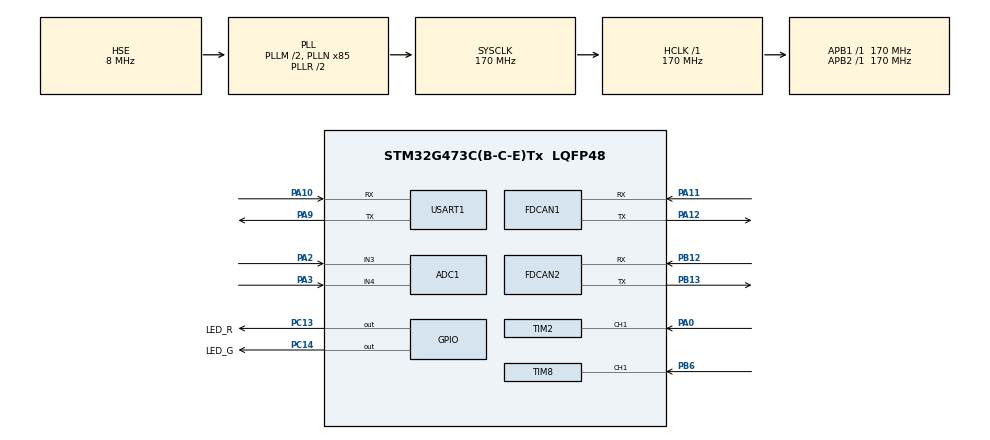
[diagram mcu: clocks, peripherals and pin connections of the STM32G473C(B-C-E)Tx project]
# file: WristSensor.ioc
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ADC1.Channel-2\#ChannelRegularConversion=ADC_CHANNEL_3
ADC1.Channel-3\#ChannelRegularConversion=ADC_CHANNEL_4
ADC1.ClockPrescaler=ADC_CLOCK_SYNC_PCLK_DIV4
ADC1.ContinuousConvMode=DISABLE
ADC1.DMAContinuousRequests=ENABLE
ADC1.ExternalTrigConv=ADC_EXTERNALTRIG_T6_TRGO
ADC1.NbrOfConversion=2
ADC1.NbrOfConversionFlag=1
ADC1.OffsetNumber-2\#ChannelRegularConversion=ADC_OFFSET_NONE
ADC1.OffsetNumber-3\#ChannelRegularConversion=ADC_OFFSET_NONE
ADC1.Rank-2\#ChannelRegularConversion=1
ADC1.Rank-3\#ChannelRegularConversion=2
ADC1.SamplingTime-2\#ChannelRegularConversion=ADC_SAMPLETIME_12CYCLES_5
ADC1.SamplingTime-3\#ChannelRegularConversion=ADC_SAMPLETIME_12CYCLES_5
ADC1.master=1
Dma.ADC1.0.Direction=DMA_PERIPH_TO_MEMORY
Dma.ADC1.0.EventEnable=DISABLE
Dma.ADC1.0.Instance=DMA2_Channel4
Dma.ADC1.0.MemDataAlignment=DMA_MDATAALIGN_HALFWORD
Dma.ADC1.0.MemInc=DMA_MINC_ENABLE
Dma.ADC1.0.Mode=DMA_CIRCULAR
Dma.ADC1.0.PeriphDataAlignment=DMA_PDATAALIGN_HALFWORD
Dma.ADC1.0.PeriphInc=DMA_PINC_DISABLE
Dma.ADC1.0.Polarity=HAL_DMAMUX_REQ_GEN_RISING
Dma.ADC1.0.Priority=DMA_PRIORITY_LOW
Dma.ADC1.0.RequestNumber=1
Dma.ADC1.0.SignalID=NONE
Dma.ADC1.0.SyncEnable=DISABLE
Dma.ADC1.0.SyncPolarity=HAL_DMAMUX_SYNC_NO_EVENT
Dma.ADC1.0.SyncRequestNumber=1
Dma.ADC1.0.SyncSignalID=NONE
Dma.Request0=ADC1
Dma.Request1=USART1_RX
Dma.Request2=TIM2_CH1
Dma.Request3=TIM2_CH2
Dma.Request4=TIM8_CH1
Dma.Request5=TIM8_CH2
Dma.TIM2_CH1.2.Direction=DMA_PERIPH_TO_MEMORY
Dma.TIM2_CH1.2.EventEnable=DISABLE
Dma.TIM2_CH1.2.Instance=DMA1_Channel3
Dma.TIM2_CH1.2.MemDataAlignment=DMA_MDATAALIGN_HALFWORD
Dma.TIM2_CH1.2.MemInc=DMA_MINC_ENABLE
Dma.TIM2_CH1.2.Mode=DMA_CIRCULAR
Dma.TIM2_CH1.2.PeriphDataAlignment=DMA_PDATAALIGN_HALFWORD
Dma.TIM2_CH1.2.PeriphInc=DMA_PINC_DISABLE
Dma.TIM2_CH1.2.Polarity=HAL_DMAMUX_REQ_GEN_RISING
Dma.TIM2_CH1.2.Priority=DMA_PRIORITY_LOW
Dma.TIM2_CH1.2.RequestNumber=1
Dma.TIM2_CH1.2.SignalID=NONE
Dma.TIM2_CH1.2.SyncEnable=DISABLE
Dma.TIM2_CH1.2.SyncPolarity=HAL_DMAMUX_SYNC_NO_EVENT
Dma.TIM2_CH1.2.SyncRequestNumber=1
Dma.TIM2_CH1.2.SyncSignalID=NONE
Dma.TIM2_CH2.3.Direction=DMA_PERIPH_TO_MEMORY
Dma.TIM2_CH2.3.EventEnable=DISABLE
Dma.TIM2_CH2.3.Instance=DMA1_Channel4
Dma.TIM2_CH2.3.MemDataAlignment=DMA_MDATAALIGN_HALFWORD
Dma.TIM2_CH2.3.MemInc=DMA_MINC_ENABLE
Dma.TIM2_CH2.3.Mode=DMA_CIRCULAR
Dma.TIM2_CH2.3.PeriphDataAlignment=DMA_PDATAALIGN_HALFWORD
Dma.TIM2_CH2.3.PeriphInc=DMA_PINC_DISABLE
Dma.TIM2_CH2.3.Polarity=HAL_DMAMUX_REQ_GEN_RISING
Dma.TIM2_CH2.3.Priority=DMA_PRIORITY_LOW
Dma.TIM2_CH2.3.RequestNumber=1
Dma.TIM2_CH2.3.SignalID=NONE
Dma.TIM2_CH2.3.SyncEnable=DISABLE
Dma.TIM2_CH2.3.SyncPolarity=HAL_DMAMUX_SYNC_NO_EVENT
Dma.TIM2_CH2.3.SyncRequestNumber=1
Dma.TIM2_CH2.3.SyncSignalID=NONE
Dma.TIM8_CH1.4.Direction=DMA_PERIPH_TO_MEMORY
Dma.TIM8_CH1.4.EventEnable=DISABLE
Dma.TIM8_CH1.4.Instance=DMA1_Channel1
Dma.TIM8_CH1.4.MemDataAlignment=DMA_MDATAALIGN_HALFWORD
Dma.TIM8_CH1.4.MemInc=DMA_MINC_ENABLE
Dma.TIM8_CH1.4.Mode=DMA_CIRCULAR
Dma.TIM8_CH1.4.PeriphDataAlignment=DMA_PDATAALIGN_HALFWORD
Dma.TIM8_CH1.4.PeriphInc=DMA_PINC_DISABLE
Dma.TIM8_CH1.4.Polarity=HAL_DMAMUX_REQ_GEN_RISING
Dma.TIM8_CH1.4.Priority=DMA_PRIORITY_LOW
Dma.TIM8_CH1.4.RequestNumber=1
Dma.TIM8_CH1.4.SignalID=NONE
Dma.TIM8_CH1.4.SyncEnable=DISABLE
Dma.TIM8_CH1.4.SyncPolarity=HAL_DMAMUX_SYNC_NO_EVENT
Dma.TIM8_CH1.4.SyncRequestNumber=1
Dma.TIM8_CH1.4.SyncSignalID=NONE
Dma.TIM8_CH2.5.Direction=DMA_PERIPH_TO_MEMORY
Dma.TIM8_CH2.5.EventEnable=DISABLE
Dma.TIM8_CH2.5.Instance=DMA1_Channel5
Dma.TIM8_CH2.5.MemDataAlignment=DMA_MDATAALIGN_HALFWORD
Dma.TIM8_CH2.5.MemInc=DMA_MINC_ENABLE
Dma.TIM8_CH2.5.Mode=DMA_CIRCULAR
Dma.TIM8_CH2.5.PeriphDataAlignment=DMA_PDATAALIGN_HALFWORD
Dma.TIM8_CH2.5.PeriphInc=DMA_PINC_DISABLE
Dma.TIM8_CH2.5.Polarity=HAL_DMAMUX_REQ_GEN_RISING
Dma.TIM8_CH2.5.Priority=DMA_PRIORITY_LOW
Dma.TIM8_CH2.5.RequestNumber=1
Dma.TIM8_CH2.5.SignalID=NONE
Dma.TIM8_CH2.5.SyncEnable=DISABLE
Dma.TIM8_CH2.5.SyncPolarity=HAL_DMAMUX_SYNC_NO_EVENT
Dma.TIM8_CH2.5.SyncRequestNumber=1
Dma.TIM8_CH2.5.SyncSignalID=NONE
Dma.USART1_RX.1.Direction=DMA_PERIPH_TO_MEMORY
Dma.USART1_RX.1.EventEnable=DISABLE
Dma.USART1_RX.1.Instance=DMA1_Channel2
Dma.USART1_RX.1.MemDataAlignment=DMA_MDATAALIGN_BYTE
Dma.USART1_RX.1.MemInc=DMA_MINC_ENABLE
Dma.USART1_RX.1.Mode=DMA_CIRCULAR
Dma.USART1_RX.1.PeriphDataAlignment=DMA_PDATAALIGN_BYTE
Dma.USART1_RX.1.PeriphInc=DMA_PINC_DISABLE
Dma.USART1_RX.1.Polarity=HAL_DMAMUX_REQ_GEN_RISING
Dma.USART1_RX.1.Priority=DMA_PRIORITY_LOW
Dma.USART1_RX.1.RequestNumber=1
Dma.USART1_RX.1.SignalID=NONE
Dma.USART1_RX.1.SyncEnable=DISABLE
Dma.USART1_RX.1.SyncPolarity=HAL_DMAMUX_SYNC_NO_EVENT
Dma.USART1_RX.1.SyncRequestNumber=1
Dma.USART1_RX.1.SyncSignalID=NONE
FDCAN1.ClockDivider=FDCAN_CLOCK_DIV2
FDCAN1.DataTimeSeg1=32
FDCAN1.NominalTimeSeg1=32
FDCAN1.NominalTimeSeg2=52
FDCAN2.DataTimeSeg1=32
FDCAN2.NominalTimeSeg1=32
FDCAN2.NominalTimeSeg2=52
IWDG.Prescaler=IWDG_PRESCALER_4
Mcu.Family=STM32G4
Mcu.Name=STM32G473C(B-C-E)Tx
Mcu.Package=LQFP48
NVIC.DMA1_Channel1_IRQn=true\:0\:0\:false\:false\:true\:false\:true
NVIC.DMA1_Channel2_IRQn=true\:0\:0\:false\:false\:true\:false\:true
NVIC.DMA1_Channel3_IRQn=true\:0\:0\:false\:false\:true\:false\:true
NVIC.DMA1_Channel4_IRQn=true\:0\:0\:false\:false\:true\:false\:true
NVIC.DMA1_Channel5_IRQn=true\:0\:0\:false\:false\:true\:false\:true
NVIC.DMA2_Channel4_IRQn=true\:0\:0\:false\:false\:true\:false\:true
NVIC.FDCAN1_IT0_IRQn=true\:0\:0\:false\:false\:true\:true\:true
NVIC.FDCAN2_IT0_IRQn=true\:0\:0\:false\:false\:true\:true\:true
NVIC.PriorityGroup=NVIC_PRIORITYGROUP_4
NVIC.TIM7_DAC_IRQn=true\:0\:0\:false\:false\:true\:true\:true
PA0.Signal=S_TIM2_CH1
PA10.Mode=Asynchronous
PA10.Signal=USART1_RX
PA11.Mode=FDCANMaster
PA11.Signal=FDCAN1_RX
PA12.Mode=FDCANMaster
PA12.Signal=FDCAN1_TX
PA13.Mode=JTAG_5_pins
PA13.Signal=SYS_JTMS-SWDIO
PA14.Mode=JTAG_5_pins
PA14.Signal=SYS_JTCK-SWCLK
PA15.Mode=JTAG_5_pins
PA15.Signal=SYS_JTDI
PA2.Mode=IN3-Single-Ended
PA2.Signal=ADC1_IN3
PA3.Mode=IN4-Single-Ended
PA3.Signal=ADC1_IN4
PA9.Mode=Asynchronous
PA9.Signal=USART1_TX
PB12.Mode=FDCANSlave
PB12.Signal=FDCAN2_RX
PB13.Mode=FDCANSlave
PB13.Signal=FDCAN2_TX
PB3.Mode=JTAG_5_pins
PB3.Signal=SYS_JTDO-SWO
PB4.Mode=JTAG_5_pins
PB4.Signal=SYS_JTRST
PB6.Signal=S_TIM8_CH1
PC13.GPIO_Label=LED_R
PC13.Signal=GPIO_Output
PC14-OSC32_IN.GPIO_Label=LED_G
PC14-OSC32_IN.Signal=GPIO_Output
PF0-OSC_IN.Mode=HSE-External-Oscillator
PF0-OSC_IN.Signal=RCC_OSC_IN
PF1-OSC_OUT.Mode=HSE-External-Oscillator
PF1-OSC_OUT.Signal=RCC_OSC_OUT
ProjectManager.HeapSize=0x200
ProjectManager.StackSize=0x400
ProjectManager.TargetToolchain=EWARM V8.32
RCC.ADC12CLockSelection=RCC_ADC12CLKSOURCE_PLL
RCC.ADC12Freq_Value=170000000
RCC.ADC345Freq_Value=170000000
RCC.AHBFreq_Value=170000000
RCC.APB1Freq_Value=170000000
RCC.APB1TimFreq_Value=170000000
RCC.APB2Freq_Value=170000000
RCC.APB2TimFreq_Value=170000000
RCC.CortexFreq_Value=170000000
RCC.EXTERNAL_CLOCK_VALUE=12288000
RCC.FDCANCLockSelection=RCC_FDCANCLKSOURCE_PLL
RCC.HCLKFreq_Value=170000000
RCC.HSE_VALUE=8000000
RCC.HSI48_VALUE=48000000
RCC.HSI_VALUE=16000000
RCC.LSE_VALUE=32768
RCC.PLLM=RCC_PLLM_DIV2
RCC.PLLN=85
RCC.PLLSourceVirtual=RCC_PLLSOURCE_HSE
RCC.SYSCLKFreq_VALUE=170000000
RCC.SYSCLKSource=RCC_SYSCLKSOURCE_PLLCLK
RCC.USBFreq_Value=170000000
RCC.VCOOutputFreq_Value=340000000
SH.S_TIM2_CH1.0=TIM2_CH1,Input_Capture1_from_TI1
SH.S_TIM2_CH1.1=TIM2_CH1,TriggerSource_TI1FP1
SH.S_TIM2_CH1.2=TIM2_CH1,Input_Capture2_from_TI1
SH.S_TIM8_CH1.0=TIM8_CH1,Input_Capture1_from_TI1
SH.S_TIM8_CH1.1=TIM8_CH1,TriggerSource_TI1FP1
SH.S_TIM8_CH1.2=TIM8_CH1,Input_Capture2_from_TI1
TIM2.AutoReloadPreload=TIM_AUTORELOAD_PRELOAD_ENABLE
TIM2.Channel-Input_Capture1_from_TI1=TIM_CHANNEL_1
TIM2.Channel-Input_Capture2_from_TI1=TIM_CHANNEL_2
TIM2.ICFilter_CH1=15
TIM2.ICPolarity_CH2=TIM_INPUTCHANNELPOLARITY_FALLING
TIM2.PeriodNoDither=65535
TIM2.Prescaler=170-1
TIM6.AutoReloadPreload=TIM_AUTORELOAD_PRELOAD_DISABLE
TIM6.PeriodNoDither=10000
TIM6.Prescaler=170-1
TIM6.TIM_MasterOutputTrigger=TIM_TRGO_UPDATE
TIM7.AutoReloadPreload=TIM_AUTORELOAD_PRELOAD_DISABLE
TIM7.PeriodNoDither=1000-1
TIM7.Prescaler=170-1
TIM8.AutoReloadPreload=TIM_AUTORELOAD_PRELOAD_ENABLE
TIM8.Channel-Input_Capture1_from_TI1=TIM_CHANNEL_1
TIM8.Channel-Input_Capture2_from_TI1=TIM_CHANNEL_2
TIM8.ICFilter_CH1=15
TIM8.ICPolarity_CH2=TIM_INPUTCHANNELPOLARITY_FALLING
TIM8.PeriodNoDither=65535
TIM8.Prescaler=170-1
USART1.VirtualMode-Asynchronous=VM_ASYNC
VP_IWDG_VS_IWDG.Mode=IWDG_Activate
VP_SYS_VS_DBSignals.Mode=DisableDeadBatterySignals
VP_TIM2_VS_ClockSourceINT.Mode=Internal
VP_TIM2_VS_ControllerModeReset.Mode=Reset Mode
VP_TIM6_VS_ClockSourceINT.Mode=Enable_Timer
VP_TIM7_VS_ClockSourceINT.Mode=Enable_Timer
VP_TIM8_VS_ClockSourceINT.Mode=Internal
VP_TIM8_VS_ControllerModeReset.Mode=Reset Mode
board=custom

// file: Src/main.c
/* USER CODE BEGIN Header */
/**
  ******************************************************************************
  * @file           : main.c
  * @brief          : Main program body
  ******************************************************************************
  * @attention
  *
  * <h2><center>&copy; Copyright (c) 2021 STMicroelectronics.
  * All rights reserved.</center></h2>
  *
  * This software component is licensed by ST under BSD 3-Clause license,
  * the "License"; You may not use this file except in compliance with the
  * License. You may obtain a copy of the License at:
  *                        opensource.org/licenses/BSD-3-Clause
  *
  ******************************************************************************
  */
/* USER CODE END Header */

#include "main.h"

/* USER CODE BEGIN Includes */
#include "stdlib.h"
#include "hx_WristSensor.h"
#include "hx_CANOpen.h"
#include "hx_CANDrv.h"

/* USER CODE END Includes */

/* USER CODE BEGIN PD */
#define DMA_RX_BUFFER_SIZE         				1
#define UART_BUFFER_SIZE        				24
#define ADC1_CHANNEL_NUM						2
/* USER CODE END PD */

ADC_HandleTypeDef hadc1;
DMA_HandleTypeDef hdma_adc1;

FDCAN_HandleTypeDef hfdcan1;
FDCAN_HandleTypeDef hfdcan2;

IWDG_HandleTypeDef hiwdg;

TIM_HandleTypeDef htim2;
TIM_HandleTypeDef htim6;
TIM_HandleTypeDef htim7;
TIM_HandleTypeDef htim8;
DMA_HandleTypeDef hdma_tim2_ch1;
DMA_HandleTypeDef hdma_tim2_ch2;
DMA_HandleTypeDef hdma_tim8_ch1;
DMA_HandleTypeDef hdma_tim8_ch2;

UART_HandleTypeDef huart1;
DMA_HandleTypeDef hdma_usart1_rx;

/* USER CODE BEGIN PV */
//FDCAN_RxHeaderTypeDef RxHeader[2];
//uint8_t RxData[2][16];
//FDCAN_TxHeaderTypeDef TxHeader[2];
//uint8_t TxData[2][16];
//uint8_t TxData2[] = {0x10, 0x32, 0x54, 0x76, 0x98, 0x00, 0x11, 0x22, 0x33, 0x44, 0x55, 0x66, 0x77, 0x88, 0x99, 0x00};
//FDCAN_FilterTypeDef sFilterConfig;
//int fifo0TxNum;
uint16_t adc1Result[ADC1_CHANNEL_NUM];
uint8_t DMA_RX_Buffer[1];
uint16_t capture21[2];	//tim2_1ch
uint16_t capture22[2];	//tim2_2ch
uint16_t capture81[2];
uint16_t capture82[2];
//uint32_t period, active, freq, duty;
//uint8_t ch1done = 0;
//uint8_t ch2done = 0;
//uint8_t ch3done = 0;
//uint8_t ch4done = 0;

/* USER CODE END PV */

void SystemClock_Config(void);
static void MX_GPIO_Init(void);
static void MX_DMA_Init(void);
static void MX_ADC1_Init(void);
static void MX_FDCAN1_Init(void);
static void MX_FDCAN2_Init(void);
static void MX_IWDG_Init(void);
static void MX_TIM2_Init(void);
static void MX_TIM6_Init(void);
static void MX_TIM7_Init(void);
static void MX_TIM8_Init(void);
static void MX_USART1_UART_Init(void);
/* USER CODE BEGIN PFP */
void (*reset)(void) = 0;

/* USER CODE END PFP */

/* USER CODE BEGIN 0 */
#if 0
int fputc(int ch, FILE *f)
{
	uint8_t temp[1] = {ch};

	HAL_UART_Transmit(&huart1, temp, 1, 20);
	return ch;
}
#endif

void HAL_TIM_PeriodElapsedCallback(TIM_HandleTypeDef * htim)
{
	if (htim->Instance == TIM7) {
		WristTimer.tick++;
		WristTimer.tick2++;
		//WristTimer.temp++;
		//if (WristTimer.sendDataTick > 0) WristTimer.sendDataTick--;
	}
}

void HAL_UART_RxCpltCallback(UART_HandleTypeDef * huart)
{
	Wrist.m_led.adcCnt++;
}

void HAL_ADC_ConvCpltCallback(ADC_HandleTypeDef* hadc)
{
	//uint32_t i;

	if (hadc->Instance == ADC1 || hadc->Instance == ADC2) {
	}
	//HAL_ADC_Stop_DMA(&hadc1);
	Wrist.m_led.adcCnt++;
	//fnADCDrv_Copy2Buf();
	//Wrist.adc.complete = 1;
	//ADCDrv_SelectSensorSource();
	//if (Wrist.runMode > RM_CALIBRATION) {
	//	HAL_ADC_Start_DMA(&hadc1,(uint32_t *)&AdcDmaBuf[1], NumOfAdcChan );
		//Wrist.adc.complete = 0;
	//}
	//HAL_GPIO_TogglePin(GPIOB, LED_ORANGE);
}

/**
  * @brief  Transmission  complete callback in non blocking mode
  * @param  CanHandle: pointer to a CAN_HandleTypeDef structure that contains
  *         the configuration information for the specified CAN.
  * @retval None
  */
void HAL_FDCAN_RxFifo0Callback(FDCAN_HandleTypeDef *hfdcan, uint32_t RxFifo0ITs)
{
	//uint32_t len;
	//int i;

	if((RxFifo0ITs & FDCAN_IT_RX_FIFO0_NEW_MESSAGE) != RESET)
	{
		if (hfdcan->Instance == FDCAN1) {
			CCANDrv_ISR(hfdcan);
			/* Activate Rx FIFO 0 watermark notification */
			HAL_FDCAN_ActivateNotification(hfdcan, FDCAN_IT_RX_FIFO0_NEW_MESSAGE, CanBuf[0].fifo0TxNum);
		}
		else if (hfdcan->Instance == FDCAN2) {
			CCANDrv_ISR(hfdcan);
			/* Activate Rx FIFO 0 watermark notification */
			HAL_FDCAN_ActivateNotification(hfdcan, FDCAN_IT_RX_FIFO0_NEW_MESSAGE, CanBuf[1].fifo0TxNum);
		}
	}
}

void HAL_CAN_TxCpltCallback(FDCAN_HandleTypeDef* hfdcan)
{
	if (hfdcan->Instance == FDCAN1) {
		if (hfdcan->State == HAL_FDCAN_STATE_READY) Wrist.m_can[1].complete = 1;
	}
}

void HAL_TIM_IC_CaptureCallback(TIM_HandleTypeDef *htim)
{
#if 0
	if(htim->Instance == TIM2 && htim->Channel == HAL_TIM_ACTIVE_CHANNEL_1)
	{
		ch1done = 1;
	}

	if(htim->Instance == TIM2 && htim->Channel == HAL_TIM_ACTIVE_CHANNEL_2)
	{
		ch2done = 1;
	}

	if(htim->Instance == TIM8 && htim->Channel == HAL_TIM_ACTIVE_CHANNEL_1)
	{
		ch3done = 1;
	}

	if(htim->Instance == TIM8 && htim->Channel == HAL_TIM_ACTIVE_CHANNEL_2)
	{
		ch4done = 1;
	}
#endif
}

void HW_DeviceDrv_Init(void)
{
	 //osStatus status;											   // function return status

	//GPIO_InitTypeDef GPIO_InitStruct = {0};

	//GPIO_InitStruct.Pin = GPIO_PIN_13|GPIO_PIN_14; //LED Red/Green
	//GPIO_InitStruct.Mode = GPIO_MODE_OUTPUT_PP;
	//GPIO_InitStruct.Pull = GPIO_NOPULL;
	//GPIO_InitStruct.Speed = GPIO_SPEED_FREQ_LOW;
	//HAL_GPIO_Init(GPIOC, &GPIO_InitStruct);

	//GPIO_InitStruct.Pin = GPIO_PIN_7; //LED Red
	//HAL_GPIO_Init(GPIOB, &GPIO_InitStruct);

	//HAL_NVIC_SetPriority(EXTI2_IRQn, 8, 0); //emg1
	//HAL_NVIC_EnableIRQ(EXTI2_IRQn);

	HAL_UART_Receive_DMA(&huart1, &DMA_RX_Buffer[0], DMA_RX_BUFFER_SIZE);

	CCANDrv_CANDrv();

	HAL_TIM_Base_Start_IT(&htim7);

	HAL_TIM_IC_Start_DMA(&htim2, TIM_CHANNEL_1, (uint32_t *)capture21, 2);
	htim2.State = HAL_TIM_STATE_READY;
	HAL_TIM_IC_Start_DMA(&htim2, TIM_CHANNEL_2, (uint32_t *)capture22, 2);

	HAL_TIM_IC_Start_DMA(&htim8, TIM_CHANNEL_1, (uint32_t *)capture81, 2);
	htim8.State = HAL_TIM_STATE_READY;
	HAL_TIM_IC_Start_DMA(&htim8, TIM_CHANNEL_2, (uint32_t *)capture82, 2);

	HAL_TIM_Base_Start(&htim6);  // Timer 6 Base generation : for adc1,2,3 trigger

	//ADCDrv_Init();
	HAL_ADC_Start_DMA(&hadc1, (uint32_t *)adc1Result, ADC1_CHANNEL_NUM);
//	HAL_IWDG_Start(&hiwdg);

}

void GetMCU_UID(uint32_t *buf)
{
#define U_ID_BASE			((uint32_t)0x1FF1E800)
	buf[0] = *(__IO uint32_t *)U_ID_BASE;//HAL_GetUIDw0();
	buf[1] = *(__IO uint32_t *)(U_ID_BASE+4);//HAL_GetUIDw1();
	buf[2] = *(__IO uint32_t *)(U_ID_BASE+8);//HAL_GetUIDw2();
}

void CAN_Init(FDCAN_HandleTypeDef *phcan)
{
	if (phcan->Instance == FDCAN1) {
		MX_FDCAN1_Init(); // CAN �ʱ�ȭ�� �մϴ�
	}
	else if (phcan->Instance == FDCAN2) {
		MX_FDCAN2_Init(); // CAN �ʱ�ȭ�� �մϴ�
	}
}

/* USER CODE END 0 */

int main(void)
{

  /* MCU Configuration--------------------------------------------------------*/

  /* Reset of all peripherals, Initializes the Flash interface and the Systick. */
  HAL_Init();

  /* Configure the system clock */
  SystemClock_Config();

  /* Initialize all configured peripherals */
  MX_GPIO_Init();
  MX_DMA_Init();
  MX_ADC1_Init();
  MX_FDCAN1_Init();
  MX_FDCAN2_Init();
//  MX_IWDG_Init();
  MX_TIM2_Init();
  MX_TIM6_Init();
  MX_TIM7_Init();
  MX_TIM8_Init();
  MX_USART1_UART_Init();
  /* USER CODE BEGIN 2 */
  HW_DeviceDrv_Init();
  //  HAL_IWDG_Start(&hiwdg);

  CWrist_Init();
  CWrist_SetEncValuePtr(0, &capture22[0]);
  CWrist_SetEncValuePtr(1, &capture82[0]);
  //CWrist_RunMode_Calibration();
#ifdef SUPPORT_UART_PRINT
	CWrist_Print2Uart_SystemInfo();
#endif
#ifdef SUPPORT_BOARD_TEST_MODE
 	CWrist_SetRunMode(RM_NORMAL);
#endif

  /* USER CODE END 2 */

  /* Infinite loop */
  while (1)
  {

    /* USER CODE BEGIN 3 */
	#if 0
	if(ch1done)
	{
		if(capture1[0] > capture1[1])
		{
			period = htim2.Instance->ARR + capture1[1] - capture1[0];
		}
		else
		{
			period = capture1[1] - capture1[0];
		}

		freq = (HAL_RCC_GetPCLK1Freq() * 2) / (htim2.Instance->PSC + 1);  //84000000
		freq = freq / period;

		ch1done = 0;
	}

	if(ch2done)
	{
		if(capture2[0] >= capture1[0] && capture2[0] <= capture1[1])
		{
			active = capture2[0] - capture1[0];
		}
		else if(capture2[1] >= capture1[0] && capture2[1] <= capture1[1])
		{
			active = capture2[1] - capture1[0];
		}

		duty = active * 100 / period;
		ch2done = 0;
	}
#endif

	fnWrist_RunMode();
	//if (Wrist.runMode > )
	if (WristTimer.tick2 > 500) {
		LED_RED_TOGGLE;
		WristTimer.tick2 = 0;
	}

  }
  /* USER CODE END 3 */
}

void SystemClock_Config(void)
{
  RCC_OscInitTypeDef RCC_OscInitStruct = {0};
  RCC_ClkInitTypeDef RCC_ClkInitStruct = {0};
  RCC_PeriphCLKInitTypeDef PeriphClkInit = {0};

  /** Configure the main internal regulator output voltage
  */
  HAL_PWREx_ControlVoltageScaling(PWR_REGULATOR_VOLTAGE_SCALE1_BOOST);
  /** Initializes the CPU, AHB and APB busses clocks
  */
  RCC_OscInitStruct.OscillatorType = RCC_OSCILLATORTYPE_LSI|RCC_OSCILLATORTYPE_HSE;
  RCC_OscInitStruct.HSEState = RCC_HSE_ON;
  RCC_OscInitStruct.LSIState = RCC_LSI_ON;
  RCC_OscInitStruct.PLL.PLLState = RCC_PLL_ON;
  RCC_OscInitStruct.PLL.PLLSource = RCC_PLLSOURCE_HSE;
  RCC_OscInitStruct.PLL.PLLM = RCC_PLLM_DIV2;
  RCC_OscInitStruct.PLL.PLLN = 85;
  RCC_OscInitStruct.PLL.PLLP = RCC_PLLP_DIV2;
  RCC_OscInitStruct.PLL.PLLQ = RCC_PLLQ_DIV2;
  RCC_OscInitStruct.PLL.PLLR = RCC_PLLR_DIV2;
  if (HAL_RCC_OscConfig(&RCC_OscInitStruct) != HAL_OK)
  {
    Error_Handler();
  }
  /** Initializes the CPU, AHB and APB busses clocks
  */
  RCC_ClkInitStruct.ClockType = RCC_CLOCKTYPE_HCLK|RCC_CLOCKTYPE_SYSCLK
                              |RCC_CLOCKTYPE_PCLK1|RCC_CLOCKTYPE_PCLK2;
  RCC_ClkInitStruct.SYSCLKSource = RCC_SYSCLKSOURCE_PLLCLK;
  RCC_ClkInitStruct.AHBCLKDivider = RCC_SYSCLK_DIV1;
  RCC_ClkInitStruct.APB1CLKDivider = RCC_HCLK_DIV1;
  RCC_ClkInitStruct.APB2CLKDivider = RCC_HCLK_DIV1;

  if (HAL_RCC_ClockConfig(&RCC_ClkInitStruct, FLASH_LATENCY_8) != HAL_OK)
  {
    Error_Handler();
  }
  /** Initializes the peripherals clocks
  */
  PeriphClkInit.PeriphClockSelection = RCC_PERIPHCLK_USART1|RCC_PERIPHCLK_ADC12
                              |RCC_PERIPHCLK_FDCAN;
  PeriphClkInit.Usart1ClockSelection = RCC_USART1CLKSOURCE_PCLK2;
  PeriphClkInit.FdcanClockSelection = RCC_FDCANCLKSOURCE_PLL;
  PeriphClkInit.Adc12ClockSelection = RCC_ADC12CLKSOURCE_PLL;
  if (HAL_RCCEx_PeriphCLKConfig(&PeriphClkInit) != HAL_OK)
  {
    Error_Handler();
  }
}

static void MX_ADC1_Init(void)
{

  ADC_MultiModeTypeDef multimode = {0};
  ADC_ChannelConfTypeDef sConfig = {0};

  /** Common config
  */
  hadc1.Instance = ADC1;
  hadc1.Init.ClockPrescaler = ADC_CLOCK_SYNC_PCLK_DIV4;
  hadc1.Init.Resolution = ADC_RESOLUTION_12B;
  hadc1.Init.DataAlign = ADC_DATAALIGN_RIGHT;
  hadc1.Init.GainCompensation = 0;
  hadc1.Init.ScanConvMode = ADC_SCAN_ENABLE;
  hadc1.Init.EOCSelection = ADC_EOC_SINGLE_CONV;
  hadc1.Init.LowPowerAutoWait = DISABLE;
  hadc1.Init.ContinuousConvMode = DISABLE;
  hadc1.Init.NbrOfConversion = 2;
  hadc1.Init.DiscontinuousConvMode = DISABLE;
  hadc1.Init.ExternalTrigConv = ADC_EXTERNALTRIG_T6_TRGO;
  hadc1.Init.ExternalTrigConvEdge = ADC_EXTERNALTRIGCONVEDGE_RISING;
  hadc1.Init.DMAContinuousRequests = ENABLE;
  hadc1.Init.Overrun = ADC_OVR_DATA_PRESERVED;
  hadc1.Init.OversamplingMode = DISABLE;
  if (HAL_ADC_Init(&hadc1) != HAL_OK)
  {
    Error_Handler();
  }
  /** Configure the ADC multi-mode
  */
  multimode.Mode = ADC_MODE_INDEPENDENT;
  if (HAL_ADCEx_MultiModeConfigChannel(&hadc1, &multimode) != HAL_OK)
  {
    Error_Handler();
  }
  /** Configure Regular Channel
  */
  sConfig.Channel = ADC_CHANNEL_3;
  sConfig.Rank = ADC_REGULAR_RANK_1;
  sConfig.SamplingTime = ADC_SAMPLETIME_12CYCLES_5;
  sConfig.SingleDiff = ADC_SINGLE_ENDED;
  sConfig.OffsetNumber = ADC_OFFSET_NONE;
  sConfig.Offset = 0;
  if (HAL_ADC_ConfigChannel(&hadc1, &sConfig) != HAL_OK)
  {
    Error_Handler();
  }
  /** Configure Regular Channel
  */
  sConfig.Channel = ADC_CHANNEL_4;
  sConfig.Rank = ADC_REGULAR_RANK_2;
  if (HAL_ADC_ConfigChannel(&hadc1, &sConfig) != HAL_OK)
  {
    Error_Handler();
  }

}

static void MX_FDCAN1_Init(void)
{

  hfdcan1.Instance = FDCAN1;
  hfdcan1.Init.ClockDivider = FDCAN_CLOCK_DIV1;//2;
  hfdcan1.Init.FrameFormat = FDCAN_FRAME_CLASSIC;
  hfdcan1.Init.Mode = FDCAN_MODE_NORMAL;
  hfdcan1.Init.AutoRetransmission = DISABLE;
  hfdcan1.Init.TransmitPause = DISABLE;
  hfdcan1.Init.ProtocolException = DISABLE;
  hfdcan1.Init.NominalPrescaler = 1;
  hfdcan1.Init.NominalSyncJumpWidth = 1;
  hfdcan1.Init.NominalTimeSeg1 = 32;
  hfdcan1.Init.NominalTimeSeg2 = 52;
  hfdcan1.Init.DataPrescaler = 1;
  hfdcan1.Init.DataSyncJumpWidth = 1;
  hfdcan1.Init.DataTimeSeg1 = 32;
  hfdcan1.Init.DataTimeSeg2 = 52;
  hfdcan1.Init.StdFiltersNbr = 0;
  hfdcan1.Init.ExtFiltersNbr = 0;
  hfdcan1.Init.TxFifoQueueMode = FDCAN_TX_FIFO_OPERATION;
  if (HAL_FDCAN_Init(&hfdcan1) != HAL_OK)
  {
    Error_Handler();
  }

}

static void MX_FDCAN2_Init(void)
{

  hfdcan2.Instance = FDCAN2;
  hfdcan2.Init.FrameFormat = FDCAN_FRAME_CLASSIC;
  hfdcan2.Init.Mode = FDCAN_MODE_NORMAL;
  hfdcan2.Init.AutoRetransmission = DISABLE;
  hfdcan2.Init.TransmitPause = DISABLE;
  hfdcan2.Init.ProtocolException = DISABLE;
  hfdcan2.Init.NominalPrescaler = 1;
  hfdcan2.Init.NominalSyncJumpWidth = 1;
  hfdcan2.Init.NominalTimeSeg1 = 32;
  hfdcan2.Init.NominalTimeSeg2 = 52;
  hfdcan2.Init.DataPrescaler = 1;
  hfdcan2.Init.DataSyncJumpWidth = 1;
  hfdcan2.Init.DataTimeSeg1 = 32;
  hfdcan2.Init.DataTimeSeg2 = 52;
  hfdcan2.Init.StdFiltersNbr = 0;
  hfdcan2.Init.ExtFiltersNbr = 0;
  hfdcan2.Init.TxFifoQueueMode = FDCAN_TX_FIFO_OPERATION;
  if (HAL_FDCAN_Init(&hfdcan2) != HAL_OK)
  {
    Error_Handler();
  }

}

static void MX_IWDG_Init(void)
{

  hiwdg.Instance = IWDG;
  hiwdg.Init.Prescaler = IWDG_PRESCALER_4;
  hiwdg.Init.Window = 4095;
  hiwdg.Init.Reload = 4095;
  if (HAL_IWDG_Init(&hiwdg) != HAL_OK)
  {
    Error_Handler();
  }

}

static void MX_TIM2_Init(void)
{

  TIM_ClockConfigTypeDef sClockSourceConfig = {0};
  TIM_SlaveConfigTypeDef sSlaveConfig = {0};
  TIM_MasterConfigTypeDef sMasterConfig = {0};
  TIM_IC_InitTypeDef sConfigIC = {0};

  htim2.Instance = TIM2;
  htim2.Init.Prescaler = 170-1;
  htim2.Init.CounterMode = TIM_COUNTERMODE_UP;
  htim2.Init.Period = 65535;
  htim2.Init.ClockDivision = TIM_CLOCKDIVISION_DIV1;
  htim2.Init.AutoReloadPreload = TIM_AUTORELOAD_PRELOAD_ENABLE;
  if (HAL_TIM_Base_Init(&htim2) != HAL_OK)
  {
    Error_Handler();
  }
  sClockSourceConfig.ClockSource = TIM_CLOCKSOURCE_INTERNAL;
  if (HAL_TIM_ConfigClockSource(&htim2, &sClockSourceConfig) != HAL_OK)
  {
    Error_Handler();
  }
  if (HAL_TIM_IC_Init(&htim2) != HAL_OK)
  {
    Error_Handler();
  }
  sSlaveConfig.SlaveMode = TIM_SLAVEMODE_RESET;
  sSlaveConfig.InputTrigger = TIM_TS_TI1FP1;
  sSlaveConfig.TriggerPolarity = TIM_INPUTCHANNELPOLARITY_RISING;
  sSlaveConfig.TriggerFilter = 0;
  if (HAL_TIM_SlaveConfigSynchro(&htim2, &sSlaveConfig) != HAL_OK)
  {
    Error_Handler();
  }
  sMasterConfig.MasterOutputTrigger = TIM_TRGO_RESET;
  sMasterConfig.MasterSlaveMode = TIM_MASTERSLAVEMODE_DISABLE;
  if (HAL_TIMEx_MasterConfigSynchronization(&htim2, &sMasterConfig) != HAL_OK)
  {
    Error_Handler();
  }
  sConfigIC.ICPolarity = TIM_INPUTCHANNELPOLARITY_RISING;
  sConfigIC.ICSelection = TIM_ICSELECTION_DIRECTTI;
  sConfigIC.ICPrescaler = TIM_ICPSC_DIV1;
  sConfigIC.ICFilter = 15;
  if (HAL_TIM_IC_ConfigChannel(&htim2, &sConfigIC, TIM_CHANNEL_1) != HAL_OK)
  {
    Error_Handler();
  }
  sConfigIC.ICPolarity = TIM_INPUTCHANNELPOLARITY_FALLING;
  sConfigIC.ICSelection = TIM_ICSELECTION_INDIRECTTI;
  sConfigIC.ICFilter = 0;
  if (HAL_TIM_IC_ConfigChannel(&htim2, &sConfigIC, TIM_CHANNEL_2) != HAL_OK)
  {
    Error_Handler();
  }

}

static void MX_TIM6_Init(void)
{

  TIM_MasterConfigTypeDef sMasterConfig = {0};

  htim6.Instance = TIM6;
  htim6.Init.Prescaler = 170-1;
  htim6.Init.CounterMode = TIM_COUNTERMODE_UP;
  htim6.Init.Period = 10000;
  htim6.Init.AutoReloadPreload = TIM_AUTORELOAD_PRELOAD_DISABLE;
  if (HAL_TIM_Base_Init(&htim6) != HAL_OK)
  {
    Error_Handler();
  }
  sMasterConfig.MasterOutputTrigger = TIM_TRGO_UPDATE;
  sMasterConfig.MasterSlaveMode = TIM_MASTERSLAVEMODE_DISABLE;
  if (HAL_TIMEx_MasterConfigSynchronization(&htim6, &sMasterConfig) != HAL_OK)
  {
    Error_Handler();
  }

}

static void MX_TIM7_Init(void)
{

  TIM_MasterConfigTypeDef sMasterConfig = {0};

  htim7.Instance = TIM7;
  htim7.Init.Prescaler = 170-1;
  htim7.Init.CounterMode = TIM_COUNTERMODE_UP;
  htim7.Init.Period = 999;
  htim7.Init.AutoReloadPreload = TIM_AUTORELOAD_PRELOAD_DISABLE;
  if (HAL_TIM_Base_Init(&htim7) != HAL_OK)
  {
    Error_Handler();
  }
  sMasterConfig.MasterOutputTrigger = TIM_TRGO_RESET;
  sMasterConfig.MasterSlaveMode = TIM_MASTERSLAVEMODE_DISABLE;
  if (HAL_TIMEx_MasterConfigSynchronization(&htim7, &sMasterConfig) != HAL_OK)
  {
    Error_Handler();
  }

}

static void MX_TIM8_Init(void)
{

  TIM_ClockConfigTypeDef sClockSourceConfig = {0};
  TIM_SlaveConfigTypeDef sSlaveConfig = {0};
  TIM_MasterConfigTypeDef sMasterConfig = {0};
  TIM_IC_InitTypeDef sConfigIC = {0};
  TIM_BreakDeadTimeConfigTypeDef sBreakDeadTimeConfig = {0};

  htim8.Instance = TIM8;
  htim8.Init.Prescaler = 170-1;
  htim8.Init.CounterMode = TIM_COUNTERMODE_UP;
  htim8.Init.Period = 65535;
  htim8.Init.ClockDivision = TIM_CLOCKDIVISION_DIV1;
  htim8.Init.RepetitionCounter = 0;
  htim8.Init.AutoReloadPreload = TIM_AUTORELOAD_PRELOAD_ENABLE;
  if (HAL_TIM_Base_Init(&htim8) != HAL_OK)
  {
    Error_Handler();
  }
  sClockSourceConfig.ClockSource = TIM_CLOCKSOURCE_INTERNAL;
  if (HAL_TIM_ConfigClockSource(&htim8, &sClockSourceConfig) != HAL_OK)
  {
    Error_Handler();
  }
  if (HAL_TIM_IC_Init(&htim8) != HAL_OK)
  {
    Error_Handler();
  }
  sSlaveConfig.SlaveMode = TIM_SLAVEMODE_RESET;
  sSlaveConfig.InputTrigger = TIM_TS_TI1FP1;
  sSlaveConfig.TriggerPolarity = TIM_INPUTCHANNELPOLARITY_RISING;
  sSlaveConfig.TriggerFilter = 0;
  if (HAL_TIM_SlaveConfigSynchro(&htim8, &sSlaveConfig) != HAL_OK)
  {
    Error_Handler();
  }
  sMasterConfig.MasterOutputTrigger = TIM_TRGO_RESET;
  sMasterConfig.MasterOutputTrigger2 = TIM_TRGO2_RESET;
  sMasterConfig.MasterSlaveMode = TIM_MASTERSLAVEMODE_DISABLE;
  if (HAL_TIMEx_MasterConfigSynchronization(&htim8, &sMasterConfig) != HAL_OK)
  {
    Error_Handler();
  }
  sConfigIC.ICPolarity = TIM_INPUTCHANNELPOLARITY_RISING;
  sConfigIC.ICSelection = TIM_ICSELECTION_DIRECTTI;
  sConfigIC.ICPrescaler = TIM_ICPSC_DIV1;
  sConfigIC.ICFilter = 15;
  if (HAL_TIM_IC_ConfigChannel(&htim8, &sConfigIC, TIM_CHANNEL_1) != HAL_OK)
  {
    Error_Handler();
  }
  sConfigIC.ICPolarity = TIM_INPUTCHANNELPOLARITY_FALLING;
  sConfigIC.ICSelection = TIM_ICSELECTION_INDIRECTTI;
  sConfigIC.ICFilter = 0;
  if (HAL_TIM_IC_ConfigChannel(&htim8, &sConfigIC, TIM_CHANNEL_2) != HAL_OK)
  {
    Error_Handler();
  }
  sBreakDeadTimeConfig.BreakAFMode = TIM_BREAK_AFMODE_INPUT;
  sBreakDeadTimeConfig.Break2AFMode = TIM_BREAK_AFMODE_INPUT;
  if (HAL_TIMEx_ConfigBreakDeadTime(&htim8, &sBreakDeadTimeConfig) != HAL_OK)
  {
    Error_Handler();
  }

}

static void MX_USART1_UART_Init(void)
{

  huart1.Instance = USART1;
  huart1.Init.BaudRate = 115200;
  huart1.Init.WordLength = UART_WORDLENGTH_8B;
  huart1.Init.StopBits = UART_STOPBITS_1;
  huart1.Init.Parity = UART_PARITY_NONE;
  huart1.Init.Mode = UART_MODE_TX_RX;
  huart1.Init.HwFlowCtl = UART_HWCONTROL_NONE;
  huart1.Init.OverSampling = UART_OVERSAMPLING_16;
  huart1.Init.OneBitSampling = UART_ONE_BIT_SAMPLE_DISABLE;
  huart1.Init.ClockPrescaler = UART_PRESCALER_DIV1;
  huart1.AdvancedInit.AdvFeatureInit = UART_ADVFEATURE_NO_INIT;
  if (HAL_UART_Init(&huart1) != HAL_OK)
  {
    Error_Handler();
  }
  if (HAL_UARTEx_SetTxFifoThreshold(&huart1, UART_TXFIFO_THRESHOLD_1_8) != HAL_OK)
  {
    Error_Handler();
  }
  if (HAL_UARTEx_SetRxFifoThreshold(&huart1, UART_RXFIFO_THRESHOLD_1_8) != HAL_OK)
  {
    Error_Handler();
  }
  if (HAL_UARTEx_DisableFifoMode(&huart1) != HAL_OK)
  {
    Error_Handler();
  }

}

static void MX_DMA_Init(void)
{

  /* DMA controller clock enable */
  __HAL_RCC_DMAMUX1_CLK_ENABLE();
  __HAL_RCC_DMA2_CLK_ENABLE();
  __HAL_RCC_DMA1_CLK_ENABLE();

  /* DMA interrupt init */
  /* DMA1_Channel1_IRQn interrupt configuration */
  HAL_NVIC_SetPriority(DMA1_Channel1_IRQn, 0, 0);
  HAL_NVIC_EnableIRQ(DMA1_Channel1_IRQn);
  /* DMA1_Channel2_IRQn interrupt configuration */
  HAL_NVIC_SetPriority(DMA1_Channel2_IRQn, 0, 0);
  HAL_NVIC_EnableIRQ(DMA1_Channel2_IRQn);
  /* DMA1_Channel3_IRQn interrupt configuration */
  HAL_NVIC_SetPriority(DMA1_Channel3_IRQn, 0, 0);
  HAL_NVIC_EnableIRQ(DMA1_Channel3_IRQn);
  /* DMA1_Channel4_IRQn interrupt configuration */
  HAL_NVIC_SetPriority(DMA1_Channel4_IRQn, 0, 0);
  HAL_NVIC_EnableIRQ(DMA1_Channel4_IRQn);
  /* DMA1_Channel5_IRQn interrupt configuration */
  HAL_NVIC_SetPriority(DMA1_Channel5_IRQn, 0, 0);
  HAL_NVIC_EnableIRQ(DMA1_Channel5_IRQn);
  /* DMA2_Channel4_IRQn interrupt configuration */
  HAL_NVIC_SetPriority(DMA2_Channel4_IRQn, 0, 0);
  HAL_NVIC_EnableIRQ(DMA2_Channel4_IRQn);

}

static void MX_GPIO_Init(void)
{
  GPIO_InitTypeDef GPIO_InitStruct = {0};

  /* GPIO Ports Clock Enable */
  __HAL_RCC_GPIOC_CLK_ENABLE();
  __HAL_RCC_GPIOF_CLK_ENABLE();
  __HAL_RCC_GPIOA_CLK_ENABLE();
  __HAL_RCC_GPIOB_CLK_ENABLE();

  /*Configure GPIO pin Output Level */
  HAL_GPIO_WritePin(GPIOC, LED_R_Pin|LED_G_Pin, GPIO_PIN_RESET);

  /*Configure GPIO pins : LED_R_Pin LED_G_Pin */
  GPIO_InitStruct.Pin = LED_R_Pin|LED_G_Pin;
  GPIO_InitStruct.Mode = GPIO_MODE_OUTPUT_PP;
  GPIO_InitStruct.Pull = GPIO_NOPULL;
  GPIO_InitStruct.Speed = GPIO_SPEED_FREQ_LOW;
  HAL_GPIO_Init(GPIOC, &GPIO_InitStruct);

}

void Error_Handler(void)
{
}

/************************ (C) COPYRIGHT STMicroelectronics *****END OF FILE****/
